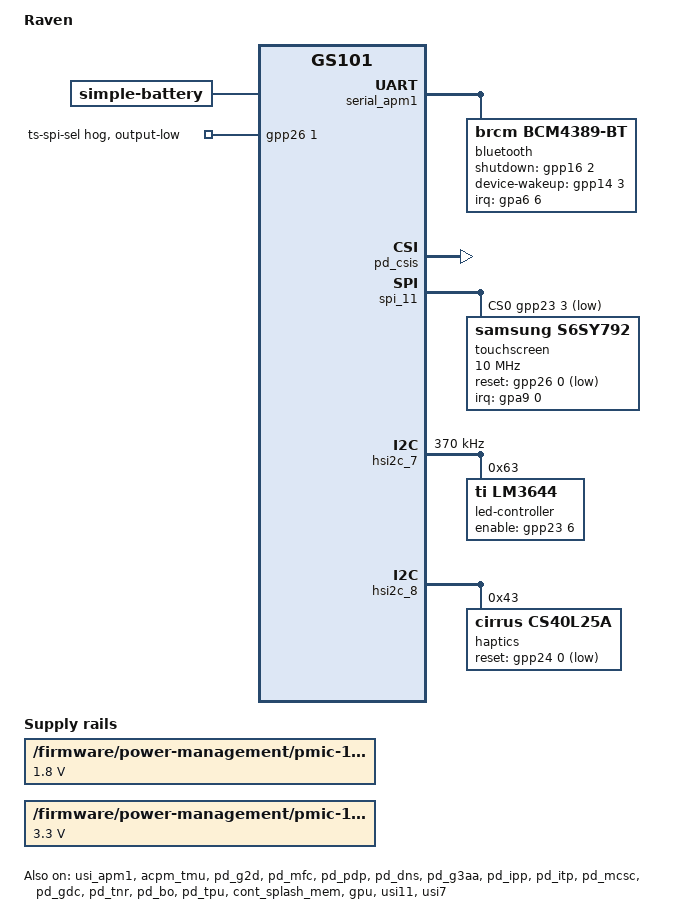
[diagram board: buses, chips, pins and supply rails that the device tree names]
// SPDX-License-Identifier: GPL-2.0-only
/*
 * Raven Device Tree
 *
 * Copyright 2021-2023 Google LLC
 * Copyright 2023-2025 Linaro Ltd
 */

/dts-v1/;

#include <dt-bindings/leds/common.h>
#include "gs101-pixel-common.dtsi"

/ {
	model = "Raven";
	compatible = "google,gs101-raven", "google,gs101";

	/*
	 * ABL picks the base DTB by soc_id (product id 0x09845000 | major
	 * revision); the factory vendor_boot carries one per revision. B0 = 1.
	 */
	soc_id = <0x09845001 0x0>;

	chosen {
		/*
		 * ABL appends its own arguments (console=null among them), so a
		 * panic is silent: panic=10 reboots instead of hanging. init hands
		 * over to the Arch root on userdata when it finds one.
		 */
		bootargs = "console=tty0 panic=10 clk_ignore_unused rdinit=/init";
	};

	battery: battery {
		compatible = "simple-battery";
		/* google,chg-battery-capacity */
		charge-full-design-microamp-hours = <4905000>;
		/*
		 * Charger limits without Google's step charging: the float
		 * voltage is google,fv-max-uv, the top of google,chg-cv-limits
		 * (4.2/4.3/4.45 V). The fast charge current is 0.3 C, the
		 * lowest google,chg-cc-limits entry at any voltage tier from
		 * 10 to 46 degC, rounded down to a charger selector (0x16).
		 */
		constant-charge-voltage-max-microvolt = <4450000>;
		constant-charge-current-max-microamp = <1466730>;
	};
};

&acpm_ipc {
	/*
	 * ABL leaves the memory bus at 2028 MHz and nothing scales it yet.
	 * 1014 MHz saved about 70 mA, as much as stock's
	 * 421 MHz idle, with headroom for the display and the GPU.
	 */
	assigned-clocks = <&acpm_ipc GS101_CLK_ACPM_DVFS_MIF>;
	assigned-clock-rates = <1014000000>;

	pmic-2 {
		regulators {
			ldo4s {
				regulator-name = "vdd2_uwb";
				regulator-min-microvolt = <2500000>;
				regulator-max-microvolt = <3300000>;
			};

			ldo14s {
				regulator-name = "vdd3_uwb";
				regulator-min-microvolt = <1600000>;
				regulator-max-microvolt = <1950000>;
			};
		};
	};
};

/* Bluetooth: the BCM4389 on the APM USI1 UART (Google's gs101-common-bluetooth) */
&usi_apm1 {
	status = "okay";
};

&serial_apm1 {
	status = "okay";

	bluetooth {
		compatible = "brcm,bcm4389-bt";
		shutdown-gpios = <&gpp16 2 GPIO_ACTIVE_HIGH>;
		device-wakeup-gpios = <&gpp14 3 GPIO_ACTIVE_HIGH>;
		interrupts-extended = <&gpa6 6 IRQ_TYPE_EDGE_RISING>;
		interrupt-names = "host-wakeup";
		pinctrl-0 = <&bt_reg_on &bt_dev_wake &bt_host_wake>;
		pinctrl-names = "default";
		max-speed = <3000000>;
	};
};

&acpm_tmu {
	status = "okay";
};

/* Unused blocks the bootloader leaves powered: genpd turns them off */
&pd_g2d {
	status = "okay";
};

&pd_mfc {
	status = "okay";
};

&pd_csis {
	status = "okay";
};

&pd_pdp {
	status = "okay";
};

&pd_dns {
	status = "okay";
};

&pd_g3aa {
	status = "okay";
};

&pd_ipp {
	status = "okay";
};

&pd_itp {
	status = "okay";
};

&pd_mcsc {
	status = "okay";
};

&pd_gdc {
	status = "okay";
};

&pd_tnr {
	status = "okay";
};

&pd_bo {
	status = "okay";
};

&pd_tpu {
	status = "okay";
};

&cont_splash_mem {
	reg = <0x0 0xfac00000 (1440 * 3120 * 4)>;

	status = "okay";
};

&framebuffer0 {
	width = <1440>;
	height = <3120>;
	stride = <(1440 * 4)>;
	format = "a8r8g8b8";

	status = "okay";
};

/* The Mali-G78 MP20 on its S2MPG10/11 rails, as postmarketOS describes them */
&gpu {
	mali-supply = <&s2mpg11_buck2s>;
	g3d-l2-supply = <&s2mpg11_buck8s>;
	g3d-m-supply = <&s2mpg11_ldo1s>;
	int-m-supply = <&s2mpg10_buck7m>;

	status = "okay";
};

/* Bluetooth's control lines, as Google's gs101-common-bluetooth.dtsi sets them */
&pinctrl_far_alive {
	bt_host_wake: bt-host-wake-pins {
		samsung,pins = "gpa6-6";
		samsung,pin-function = <GS101_PIN_FUNC_EINT>;
		samsung,pin-pud = <GS101_PIN_PULL_DOWN>;
		samsung,pin-drv = <GS101_PIN_DRV_2_5_MA>;
	};
};

&pinctrl_peric0 {
	bt_dev_wake: bt-dev-wake-pins {
		samsung,pins = "gpp14-3";
		samsung,pin-function = <GS101_PIN_FUNC_OUTPUT>;
		samsung,pin-pud = <GS101_PIN_PULL_NONE>;
		samsung,pin-drv = <GS101_PIN_DRV_2_5_MA>;
	};

	bt_reg_on: bt-reg-on-pins {
		samsung,pins = "gpp16-2";
		samsung,pin-function = <GS101_PIN_FUNC_OUTPUT>;
		samsung,pin-pud = <GS101_PIN_PULL_NONE>;
		samsung,pin-drv = <GS101_PIN_DRV_2_5_MA>;
	};
};

/*
 * Touch: a Samsung S6SY79x on SPI 11 (Google's gs101-sec-touch.dtsi and
 * gs101-common-touch.dtsi): 10 MHz, mode 3, interrupt on gpa9-0, an
 * active-low reset on gpp26-0 (sec_ts drives it 0 until powered, then
 * 1, 0, 1), DVDD on LDO25M and AVDD on LDO26M, which
 * gs101-raven-touch.dtsi pins to 1.8 V and 3.3 V.
 */
&usi11 {
	samsung,mode = <USI_MODE_SPI>;
	status = "okay";
};

&spi_11 {
	cs-gpios = <&gpp23 3 GPIO_ACTIVE_LOW>;
	num-cs = <1>;
	pinctrl-0 = <&spi11_bus &spi11_cs>;
	status = "okay";

	touchscreen@0 {
		compatible = "samsung,s6sy792";
		reg = <0>;
		spi-max-frequency = <10000000>;
		spi-cpol;
		spi-cpha;
		interrupt-parent = <&gpa9>;
		interrupts = <0 IRQ_TYPE_LEVEL_LOW>;
		reset-gpios = <&gpp26 0 GPIO_ACTIVE_LOW>;
		vdd-supply = <&{/firmware/power-management/pmic-1/regulators/ldo25m}>;
		avdd-supply = <&{/firmware/power-management/pmic-1/regulators/ldo26m}>;
		touchscreen-size-x = <1440>;
		touchscreen-size-y = <3120>;
	};
};

/* TS_SPI_SEL: low gives the touch controller's bus to the AP, not the AoC */
&gpp26 {
	ts-spi-sel-hog {
		gpio-hog;
		gpios = <1 GPIO_ACTIVE_HIGH>;
		output-low;
		line-name = "ts-spi-sel";
	};
};

&{/firmware/power-management/pmic-1/regulators/ldo25m} {
	regulator-min-microvolt = <1800000>;
	regulator-max-microvolt = <1800000>;
};

&{/firmware/power-management/pmic-1/regulators/ldo26m} {
	regulator-min-microvolt = <3300000>;
	regulator-max-microvolt = <3300000>;
};

/*
 * The CPU zones report the cluster hotspot through ACPM, which can jump by
 * 30 °C for one sample under a short burst of load. Google's raven
 * throttles from 90 °C and only has a "hot" trip at 115 °C: keep our
 * throttling from 75 °C and power off at a sustained 115 °C. The GPU zone
 * gets the same until it has GPU cooling: a panfrost burst may spike it
 * the same way. The bootloader sets the TMU's own hardware trip at 115 °C
 * too, so this trip is a backstop: a sustained overheat may end in that
 * hardware reset rather than an orderly shutdown.
 */
&big_crit {
	temperature = <115000>;
};

&mid_crit {
	temperature = <115000>;
};

&little_crit {
	temperature = <115000>;
};

&gpu_crit {
	temperature = <115000>;
};

&reserved_memory {
	/*
	 * Same region and layout as Google's gs101 kernel, so a log written by
	 * this kernel survives a warm reset and can be read from
	 * /sys/fs/pstore on the next boot.
	 */
	ramoops@fd3ff000 {
		compatible = "ramoops";
		reg = <0x0 0xfd3ff000 0x400000>;
		console-size = <0x200000>;
		pmsg-size = <0x200000>;
	};
};

&pmic {
	/* for the charger cell */
	monitored-battery = <&battery>;
};

/*
 * Rear flash LED: TI LM3644 at 0x63 on PERIC0 USI7 (Google's I2C bus 7, also
 * the cameras' bus), HWEN on gpp23-6, as stock's raven device tree
 * describes it. Stock drives it from the camera HAL through LWIS; torch only
 * here, with cheetah's bring-up cap (not a stock value).
 */
&usi7 {
	samsung,mode = <USI_MODE_I2C>;
	status = "okay";
};

&hsi2c_7 {
	clock-frequency = <370000>;
	status = "okay";

	led-controller@63 {
		compatible = "ti,lm3644";
		reg = <0x63>;
		enable-gpios = <&gpp23 6 GPIO_ACTIVE_HIGH>;

		led {
			function = LED_FUNCTION_TORCH;
			color = <LED_COLOR_ID_WHITE>;
			led-sources = <1 2>;
			led-max-microamp = <50000>;
		};
	};
};

/*
 * Haptics: a Cirrus Logic CS40L25A at 0x43 (Google's gs101-raviole-audio.dtsi),
 * reset on gpp24-0, active low. Its interrupt (gpa6-5) isn't used yet.
 */
&hsi2c_8 {
	haptics@43 {
		compatible = "cirrus,cs40l25a";
		reg = <0x43>;
		reset-gpios = <&gpp24 0 GPIO_ACTIVE_LOW>;
		/* stock's boost: 4.5 A peak, 7.5 V (CLAB) */
		cirrus,boost-peak-microamp = <4500000>;
		cirrus,boost-ctl-microvolt = <7500000>;
	};
};
